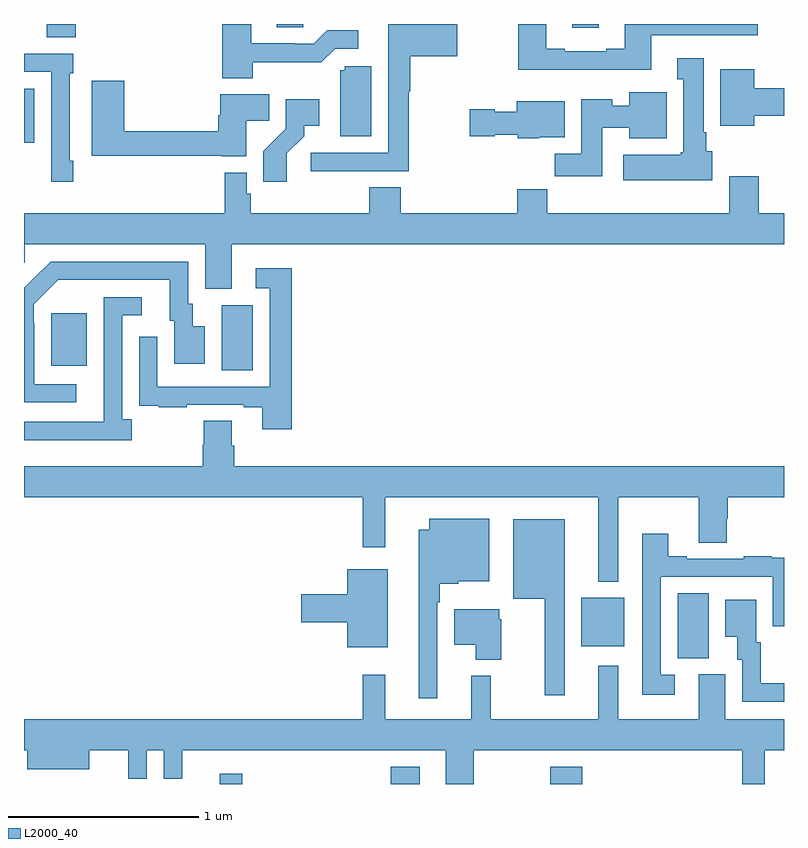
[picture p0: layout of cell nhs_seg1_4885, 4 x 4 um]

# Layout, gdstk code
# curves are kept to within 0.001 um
import gdstk
lib = gdstk.Library(unit=1e-6, precision=1e-09)
def R(c, l, rs):  # rectangles x0, y0, x1, y1
    for r in rs: c.add(gdstk.rectangle(r[:2], r[2:], *l))
def P(c, l, *ps):  # polygons
    for p in ps: c.add(gdstk.Polygon(p, *l))
L2000_40 = (2000, 40)

nhs_seg1_4885 = lib.new_cell('nhs_seg1_4885')
R(nhs_seg1_4885, L2000_40, [(376.031,574.199,376.148,574.252), (376.931,574.199,377.083,574.291), (377.771,574.199,377.938,574.291), (378.44,574.861,378.604,575.204), (377.933,574.925,378.16,575.179), (376.04,576.376,376.204,576.72), (375.143,576.401,375.331,576.676), (375,577.574,375.055,577.858), (375.119,578.128,375.272,578.199), (377.885,578.178,378.025,578.199), (376.331,578.182,376.47,578.199)])
P(nhs_seg1_4885, L2000_40, [(378.301,578.139),(378.862,578.139),(378.862,578.199),(378.161,578.199),(378.161,578.068),(378.065,578.068),(378.065,578.055),(377.845,578.055),(377.845,578.068),(377.749,578.068),(377.749,578.199),(377.602,578.199),(377.602,577.958),(378.301,577.958)],
  [(376.203,577.998),(376.565,577.997),(376.638,578.07),(376.759,578.07),(376.759,578.167),(376.597,578.167),(376.524,578.094),(376.424,578.094),(376.424,578.097),(376.195,578.097),(376.195,578.199),(376.043,578.199),(376.043,577.913),(376.203,577.913)],
  [(376.733,577.425),(377.026,577.425),(377.026,577.846),(377.033,577.846),(377.033,578.03),(377.281,578.03),(377.281,578.199),(376.916,578.199),(376.916,578.046),(376.917,578.046),(376.917,577.521),(376.509,577.521),(376.509,577.423),(376.733,577.423)],
  [(375.26,577.48),(375.24,577.48),(375.24,577.94),(375.26,577.94),(375.26,578.043),(375,578.043),(375,577.947),(375.144,577.947),(375.144,577.368),(375.26,577.368)],
  [(378.622,577.53),(378.592,577.53),(378.592,577.63),(378.577,577.63),(378.577,578.02),(378.437,578.02),(378.437,577.907),(378.47,577.907),(378.47,577.524),(378.457,577.524),(378.457,577.51),(378.153,577.51),(378.153,577.376),(378.622,577.376)],
  [(376.828,577.977),(376.689,577.977),(376.689,577.956),(376.664,577.956),(376.664,577.608),(376.828,577.608)],
  [(378.844,577.715),(379,577.715),(379,577.862),(378.844,577.862),(378.844,577.96),(378.665,577.96),(378.665,577.664),(378.844,577.664)],
  [(376.171,577.69),(376.292,577.69),(376.292,577.828),(376.034,577.828),(376.034,577.718),(376.022,577.718),(376.022,577.634),(375.527,577.634),(375.527,577.9),(375.356,577.9),(375.356,577.506),(376.038,577.506),(376.038,577.502),(376.171,577.502)],
  [(378.043,577.654),(378.185,577.654),(378.185,577.598),(378.382,577.598),(378.382,577.84),(378.185,577.84),(378.185,577.769),(378.097,577.769),(378.097,577.804),(377.933,577.804),(377.933,577.516),(377.794,577.516),(377.794,577.398),(378.043,577.398)],
  [(376.384,577.519),(376.474,577.609),(376.474,577.664),(376.555,577.664),(376.555,577.804),(376.377,577.804),(376.377,577.649),(376.258,577.53),(376.258,577.368),(376.384,577.368)],
  [(377.712,577.604),(377.845,577.604),(377.845,577.792),(377.594,577.792),(377.594,577.738),(377.478,577.738),(377.478,577.751),(377.346,577.751),(377.346,577.609),(377.478,577.609),(377.478,577.616),(377.598,577.616),(377.598,577.598),(377.712,577.598)],
  [(376.093,577.04),(379,577.04),(379,577.204),(378.866,577.204),(378.866,577.399),(378.713,577.399),(378.713,577.204),(377.753,577.204),(377.753,577.328),(377.597,577.328),(377.597,577.204),(376.982,577.204),(376.982,577.34),(376.817,577.34),(376.817,577.204),(376.193,577.204),(376.193,577.305),(376.173,577.305),(376.173,577.417),(376.057,577.417),(376.057,577.204),(375,577.204),(375,576.942),(375.003,576.942),(375.003,577.04),(375.953,577.04),(375.953,576.805),(376.093,576.805)],
  [(375.274,576.303),(375.054,576.303),(375.054,576.623),(375.051,576.623),(375.051,576.723),(375.18,576.852),(375.767,576.852),(375.767,576.636),(375.791,576.636),(375.791,576.411),(375.952,576.411),(375.952,576.607),(375.889,576.607),(375.889,576.726),(375.864,576.726),(375.864,576.948),(375.14,576.948),(375,576.81),(375,576.207),(375.274,576.207)],
  [(376.409,576.913),(376.221,576.913),(376.221,576.807),(376.293,576.807),(376.293,576.291),(375.702,576.291),(375.702,576.553),(375.606,576.553),(375.606,576.298),(375.607,576.298),(375.607,576.189),(375.709,576.189),(375.709,576.183),(375.857,576.183),(375.857,576.195),(376.157,576.195),(376.157,576.183),(376.253,576.183),(376.253,576.066),(376.409,576.066)],
  [(375.568,576.118),(375.516,576.118),(375.516,576.666),(375.619,576.666),(375.619,576.762),(375.42,576.762),(375.42,576.305),(375.419,576.305),(375.419,576.105),(375,576.105),(375,576.008),(375.568,576.008)],
  [(378.127,575.708),(378.551,575.708),(378.551,575.47),(378.699,575.47),(378.699,575.595),(378.704,575.595),(378.704,575.708),(379,575.708),(379,575.872),(376.106,575.872),(376.106,575.978),(376.093,575.978),(376.093,576.11),(375.946,576.11),(375.946,575.985),(375.941,575.985),(375.941,575.872),(375,575.872),(375,575.708),(376.783,575.708),(376.783,575.445),(376.902,575.445),(376.902,575.708),(378.023,575.708),(378.023,575.264),(378.127,575.264)],
  [(377.175,575.156),(377.188,575.156),(377.188,575.252),(377.286,575.252),(377.286,575.267),(377.449,575.267),(377.449,575.596),(377.132,575.596),(377.132,575.536),(377.078,575.536),(377.078,574.65),(377.175,574.65)],
  [(377.845,575.593),(377.576,575.593),(377.576,575.174),(377.741,575.174),(377.741,574.665),(377.845,574.665)],
  [(378.424,574.773),(378.351,574.773),(378.351,575.289),(378.942,575.289),(378.942,575.028),(379,575.028),(379,575.391),(378.935,575.391),(378.935,575.398),(378.787,575.398),(378.787,575.385),(378.487,575.385),(378.487,575.398),(378.391,575.398),(378.391,575.515),(378.255,575.515),(378.255,574.668),(378.424,574.668)],
  [(376.915,575.329),(376.7,575.329),(376.7,575.198),(376.458,575.198),(376.458,575.051),(376.7,575.051),(376.7,574.919),(376.915,574.919)],
  [(379,574.728),(378.877,574.728),(378.877,574.944),(378.853,574.944),(378.853,575.17),(378.692,575.17),(378.692,574.973),(378.755,574.973),(378.755,574.854),(378.78,574.854),(378.78,574.632),(379,574.632)],
  [(377.512,575.067),(377.5,575.067),(377.5,575.119),(377.264,575.119),(377.264,574.931),(377.378,574.931),(377.378,574.853),(377.512,574.853)],
  [(378.551,574.776),(378.551,574.54),(378.127,574.54),(378.127,574.822),(378.023,574.822),(378.023,574.54),(377.456,574.54),(377.456,574.768),(377.354,574.768),(377.354,574.54),(376.901,574.54),(376.901,574.774),(376.783,574.774),(376.783,574.54),(375,574.54),(375,574.376),(375.017,574.376),(375.017,574.277),(375.343,574.277),(375.343,574.376),(375.548,574.376),(375.548,574.227),(375.645,574.227),(375.645,574.376),(375.735,574.376),(375.735,574.227),(375.833,574.227),(375.833,574.376),(377.219,574.376),(377.219,574.199),(377.367,574.199),(377.367,574.376),(378.781,574.376),(378.781,574.199),(378.899,574.199),(378.899,574.376),(379,574.376),(379,574.54),(378.691,574.54),(378.691,574.776)])

lib.write_gds('nhs_seg1_4885.gds')
